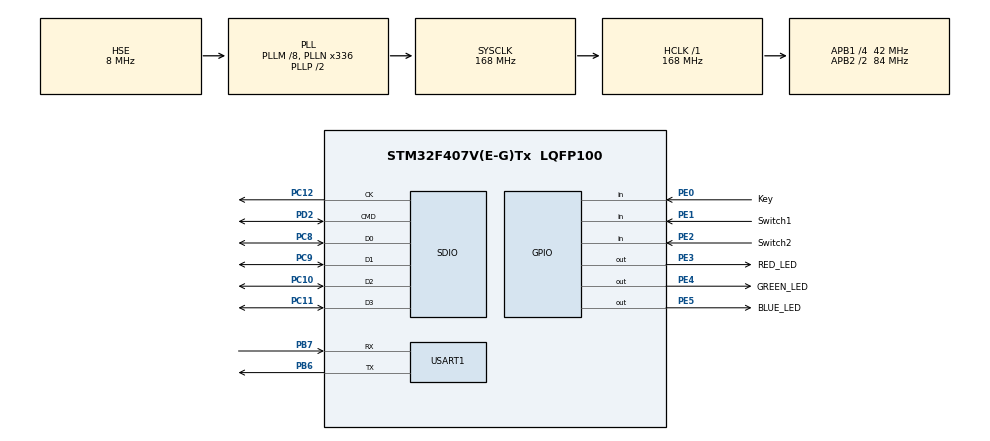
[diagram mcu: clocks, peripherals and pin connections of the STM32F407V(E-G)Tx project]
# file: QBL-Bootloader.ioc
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Mcu.Family=STM32F4
Mcu.Name=STM32F407V(E-G)Tx
Mcu.Package=LQFP100
NVIC.PriorityGroup=NVIC_PRIORITYGROUP_4
PA13.Mode=Serial-Wire
PA13.Signal=SYS_JTMS-SWDIO
PA14.Mode=Serial-Wire
PA14.Signal=SYS_JTCK-SWCLK
PB6.Mode=Asynchronous
PB6.Signal=USART1_TX
PB7.Mode=Asynchronous
PB7.Signal=USART1_RX
PC10.Mode=SD_4_bits_Wide_bus
PC10.Signal=SDIO_D2
PC11.Mode=SD_4_bits_Wide_bus
PC11.Signal=SDIO_D3
PC12.Mode=SD_4_bits_Wide_bus
PC12.Signal=SDIO_CK
PC8.Mode=SD_4_bits_Wide_bus
PC8.Signal=SDIO_D0
PC9.Mode=SD_4_bits_Wide_bus
PC9.Signal=SDIO_D1
PD2.Mode=SD_4_bits_Wide_bus
PD2.Signal=SDIO_CMD
PE0.GPIO_Label=Key
PE0.Signal=GPIO_Input
PE1.GPIO_Label=Switch1
PE1.Signal=GPIO_Input
PE2.GPIO_Label=Switch2
PE2.Signal=GPIO_Input
PE3.GPIO_Label=RED_LED
PE3.Signal=GPIO_Output
PE4.GPIO_Label=GREEN_LED
PE4.Signal=GPIO_Output
PE5.GPIO_Label=BLUE_LED
PE5.Signal=GPIO_Output
PH0-OSC_IN.Mode=HSE-External-Oscillator
PH0-OSC_IN.Signal=RCC_OSC_IN
PH1-OSC_OUT.Mode=HSE-External-Oscillator
PH1-OSC_OUT.Signal=RCC_OSC_OUT
ProjectManager.TargetToolchain=MDK-ARM V5
RCC.48MHZClocksFreq_Value=48000000
RCC.AHBFreq_Value=168000000
RCC.APB1CLKDivider=RCC_HCLK_DIV4
RCC.APB1Freq_Value=42000000
RCC.APB1TimFreq_Value=84000000
RCC.APB2CLKDivider=RCC_HCLK_DIV2
RCC.APB2Freq_Value=84000000
RCC.APB2TimFreq_Value=168000000
RCC.CortexFreq_Value=168000000
RCC.HCLKFreq_Value=168000000
RCC.HSE_VALUE=8000000
RCC.HSI_VALUE=16000000
RCC.LSE_VALUE=32768
RCC.PLLM=8
RCC.PLLN=336
RCC.PLLQ=7
RCC.PLLSourceVirtual=RCC_PLLSOURCE_HSE
RCC.SYSCLKFreq_VALUE=168000000
RCC.SYSCLKSource=RCC_SYSCLKSOURCE_PLLCLK
RCC.VCOOutputFreq_Value=336000000
SDIO.BusWide=SDIO_BUS_WIDE_1B
SDIO.WideMode=SDIO_BUS_WIDE_4B
VP_FATFS_VS_SDIO.Mode=SDIO
board=QBL-Bootloader

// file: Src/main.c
/**
  ******************************************************************************
  * File Name          : main.c
  * Description        : Main program body
  ******************************************************************************
  *
  * COPYRIGHT(c) 2016 STMicroelectronics
  *
  * Redistribution and use in source and binary forms, with or without modification,
  * are permitted provided that the following conditions are met:
  *   1. Redistributions of source code must retain the above copyright notice,
  *      this list of conditions and the following disclaimer.
  *   2. Redistributions in binary form must reproduce the above copyright notice,
  *      this list of conditions and the following disclaimer in the documentation
  *      and/or other materials provided with the distribution.
  *   3. Neither the name of STMicroelectronics nor the names of its contributors
  *      may be used to endorse or promote products derived from this software
  *      without specific prior written permission.
  *
  * THIS SOFTWARE IS PROVIDED BY THE COPYRIGHT HOLDERS AND CONTRIBUTORS "AS IS"
  * AND ANY EXPRESS OR IMPLIED WARRANTIES, INCLUDING, BUT NOT LIMITED TO, THE
  * IMPLIED WARRANTIES OF MERCHANTABILITY AND FITNESS FOR A PARTICULAR PURPOSE ARE
  * DISCLAIMED. IN NO EVENT SHALL THE COPYRIGHT HOLDER OR CONTRIBUTORS BE LIABLE
  * FOR ANY DIRECT, INDIRECT, INCIDENTAL, SPECIAL, EXEMPLARY, OR CONSEQUENTIAL
  * DAMAGES (INCLUDING, BUT NOT LIMITED TO, PROCUREMENT OF SUBSTITUTE GOODS OR
  * SERVICES; LOSS OF USE, DATA, OR PROFITS; OR BUSINESS INTERRUPTION) HOWEVER
  * CAUSED AND ON ANY THEORY OF LIABILITY, WHETHER IN CONTRACT, STRICT LIABILITY,
  * OR TORT (INCLUDING NEGLIGENCE OR OTHERWISE) ARISING IN ANY WAY OUT OF THE USE
  * OF THIS SOFTWARE, EVEN IF ADVISED OF THE POSSIBILITY OF SUCH DAMAGE.
  *
  ******************************************************************************
  */
#include "stm32f4xx_hal.h"
#include "fatfs.h"
#include "sdio.h"
#include "usart.h"
#include "gpio.h"

/* USER CODE BEGIN Includes */
#include "FirewareUpdate.h"
#include "LED.h"
/* USER CODE END Includes */

/* USER CODE BEGIN PV */
/* Private variables ---------------------------------------------------------*/

/* USER CODE END PV */

void SystemClock_Config(void);

/* USER CODE BEGIN PFP */
/* Private function prototypes -----------------------------------------------*/

/* USER CODE END PFP */

int main(void)
{

    /* USER CODE BEGIN 1 */
    uint8_t Buffer[512];
    FATFS Disk;
    FIL Fireware;
    uint32_t BR;
    /* USER CODE END 1 */

    /* MCU Configuration----------------------------------------------------------*/

    /* Reset of all peripherals, Initializes the Flash interface and the Systick. */
    HAL_Init();

    /* Configure the system clock */
    SystemClock_Config();

    /* Initialize all configured peripherals */
    MX_GPIO_Init();
    MX_SDIO_SD_Init();
    MX_USART1_UART_Init();
    MX_FATFS_Init();

    /* USER CODE BEGIN 2 */

    if(GPIO_PIN_RESET == HAL_GPIO_ReadPin(Key_GPIO_Port, Key_Pin))
    {

        f_mount(&Disk, "Core", 1);

        FirewareUpdate_Rst();
        FirewareUpdate_Erase();

        if(FR_OK ==  f_open(&Fireware, "Update.bin", FA_READ))
        {
            do
            {
                f_read(&Fireware, Buffer, 512, &BR);
                FirewareUpdate_Write(Buffer, BR);
            } while(BR == 512);

        }
        f_close(&Fireware);
        f_mount(&Disk, "Core", 0);
    }

    HAL_Delay(1000);

    HAL_NVIC_DisableIRQ(SysTick_IRQn);
    HAL_NVIC_DisableIRQ(OTG_FS_WKUP_IRQn);

    FirewareUpdate_JumpToApp();

    /* USER CODE END 2 */

    /* Infinite loop */
    while (1)
    {

    }

}

/** System Clock Configuration
*/
void SystemClock_Config(void)
{

    RCC_OscInitTypeDef RCC_OscInitStruct;
    RCC_ClkInitTypeDef RCC_ClkInitStruct;

    __PWR_CLK_ENABLE();

    __HAL_PWR_VOLTAGESCALING_CONFIG(PWR_REGULATOR_VOLTAGE_SCALE1);

    RCC_OscInitStruct.OscillatorType = RCC_OSCILLATORTYPE_HSE;
    RCC_OscInitStruct.HSEState = RCC_HSE_ON;
    RCC_OscInitStruct.PLL.PLLState = RCC_PLL_ON;
    RCC_OscInitStruct.PLL.PLLSource = RCC_PLLSOURCE_HSE;
    RCC_OscInitStruct.PLL.PLLM = 8;
    RCC_OscInitStruct.PLL.PLLN = 336;
    RCC_OscInitStruct.PLL.PLLP = RCC_PLLP_DIV2;
    RCC_OscInitStruct.PLL.PLLQ = 7;
    HAL_RCC_OscConfig(&RCC_OscInitStruct);

    RCC_ClkInitStruct.ClockType = RCC_CLOCKTYPE_SYSCLK | RCC_CLOCKTYPE_PCLK1
                                  | RCC_CLOCKTYPE_PCLK2;
    RCC_ClkInitStruct.SYSCLKSource = RCC_SYSCLKSOURCE_PLLCLK;
    RCC_ClkInitStruct.AHBCLKDivider = RCC_SYSCLK_DIV1;
    RCC_ClkInitStruct.APB1CLKDivider = RCC_HCLK_DIV4;
    RCC_ClkInitStruct.APB2CLKDivider = RCC_HCLK_DIV2;
    HAL_RCC_ClockConfig(&RCC_ClkInitStruct, FLASH_LATENCY_5);

    HAL_SYSTICK_Config(HAL_RCC_GetHCLKFreq() / 1000);

    HAL_SYSTICK_CLKSourceConfig(SYSTICK_CLKSOURCE_HCLK);

    /* SysTick_IRQn interrupt configuration */
    HAL_NVIC_SetPriority(SysTick_IRQn, 0, 0);
}

/************************ (C) COPYRIGHT STMicroelectronics *****END OF FILE****/
